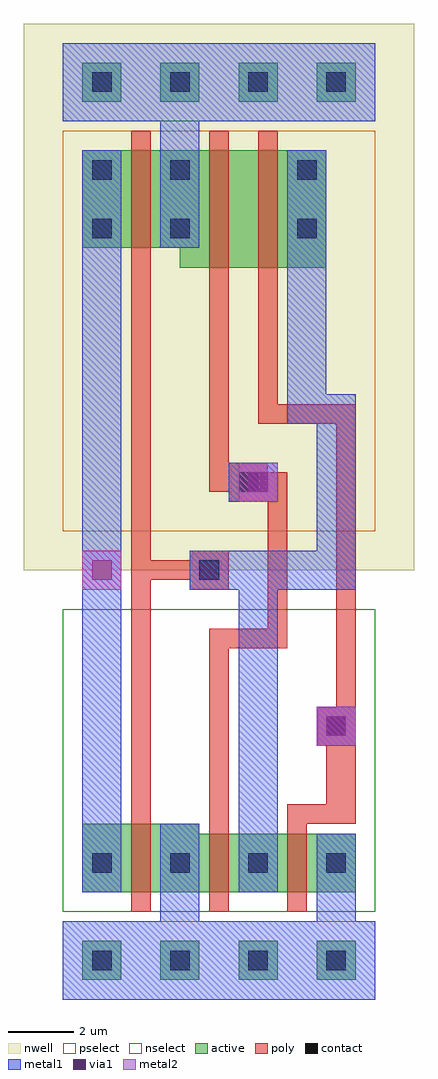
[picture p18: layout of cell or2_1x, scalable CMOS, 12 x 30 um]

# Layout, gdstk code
import gdstk
lib = gdstk.Library(unit=1e-6, precision=1e-09)
def R(c, l, rs):  # rectangles x0, y0, x1, y1
    for r in rs: c.add(gdstk.rectangle(r[:2], r[2:], *l))
def A(c, l, x, y, w, h, nx, ny, dx, dy):  # array of equal rectangles
    R(c, l, [(x+i*dx, y+j*dy, x+i*dx+w, y+j*dy+h) for i in range(nx) for j in range(ny)])
contact = (25, 0)
nwell = (42, 0)
active = (43, 0)
pselect = (44, 0)
nselect = (45, 0)
poly = (46, 0)
metal1 = (49, 0)
via1 = (50, 0)
metal2 = (51, 0)

or2_1x = lib.new_cell('or2_1x')
A(or2_1x, contact, 0.9, -0.3, 0.6, 0.6, 4, 2, 2.4, 3)
A(or2_1x, contact, 0.9, 26.7, 0.6, 0.6, 4, 1, 2.4, 0)
R(or2_1x, contact, [(8.1,6.9,8.7,7.5), (4.2,11.7,4.8,12.3), (5.4,14.4,6,15), (0.9,22.2,1.5,22.8), (3.3,22.2,3.9,22.8), (7.2,22.2,7.8,22.8), (0.9,24,1.5,24.6), (3.3,24,3.9,24.6), (7.2,24,7.8,24.6)])
R(or2_1x, nwell, [(-1.2,12,10.8,28.8)])
A(or2_1x, active, 0.6, -0.6, 1.2, 1.2, 4, 2, 2.4, 27)
R(or2_1x, active, [(0.6,2.1,4.2,4.2), (4.2,2.1,9,3.9), (3.6,21.3,4.2,21.9), (4.2,21.3,8.1,24.9), (0.6,21.9,4.2,24.9)])
R(or2_1x, pselect, [(0,-1.2,9.6,1.2), (0,13.2,9.6,25.5)])
R(or2_1x, nselect, [(0,1.5,9.6,10.8), (0,25.8,9.6,28.2)])
R(or2_1x, poly, [(2.1,1.5,2.7,25.5), (4.5,1.5,5.1,10.2), (6.9,1.5,7.5,4.8), (7.5,4.2,9,4.8), (8.1,4.8,9,6.6), (7.8,6.6,9,7.8), (8.4,7.8,9,17.1), (5.1,9.6,6.3,10.2), (6.3,9.6,6.9,15), (3.9,11.4,5.1,12.6), (2.7,11.7,3.9,12.3), (5.1,14.1,6.3,15.3), (4.5,14.4,5.1,25.5), (6,16.5,6.6,25.5), (6.6,16.5,8.4,17.1)])
R(or2_1x, metal1, [(0,-1.2,9.6,1.2), (0,-1.2,9.6,1.2), (3,1.2,4.2,4.2), (7.8,1.2,9,3.9), (0.6,2.1,1.8,24.9), (5.4,2.1,6.6,11.4), (7.8,6.6,9,7.8), (3.9,11.4,9,12.6), (7.8,12.6,9,17.4), (5.1,14.1,6.6,15.3), (6.9,16.5,8.1,24.9), (3,21.9,4.2,25.8), (0,25.8,9.6,28.2), (0,25.8,9.6,28.2)])
R(or2_1x, via1, [(8.1,6.9,8.7,7.5), (0.9,11.7,1.5,12.3), (5.7,14.4,6.3,15)])
R(or2_1x, metal2, [(7.8,6.6,9,7.8), (0.6,11.4,1.8,12.6), (5.4,14.1,6.6,15.3)])

lib.write_gds('or2_1x.gds')
